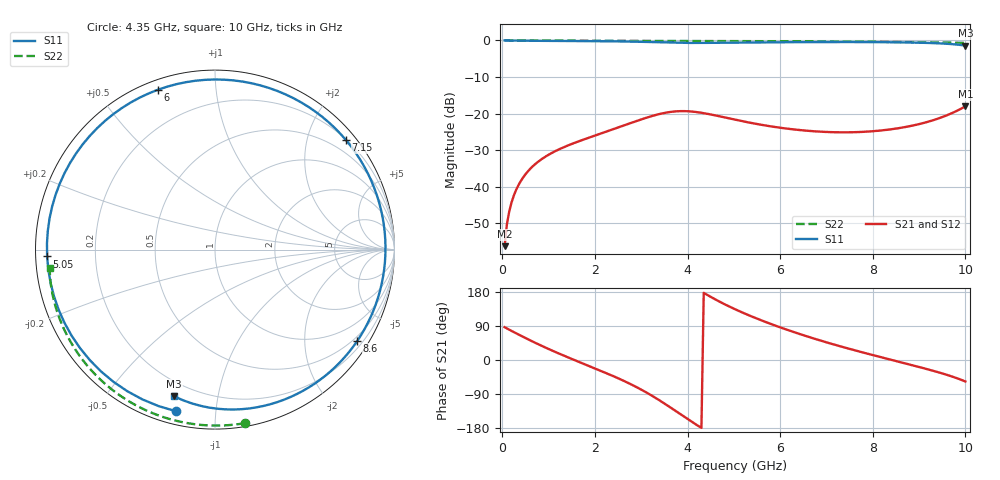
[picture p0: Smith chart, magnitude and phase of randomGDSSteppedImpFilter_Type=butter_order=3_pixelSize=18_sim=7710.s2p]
! freq	dB(S11)	phase(S11)	dB(S12)	phase(S12)
!  dB(S21)	phase(S21)	dB(S22)	phase(S22)
!S-par simulation data
#  GHz  S  DB  R 50
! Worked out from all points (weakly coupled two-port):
!   200 points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, 50 MHz to 10 GHz, reference 50 ohm
!   highest |S21| = -18.02 dB at 10 GHz (marker M1); lowest = -56.3 dB at 50 MHz (marker M2)
!   lowest |S11| = -1.4 dB at 10 GHz (marker M3), VSWR 12.22, Z = 6.43 - j37.6 ohm
!   |S11| at or under -10 dB: nowhere
!   |S22| runs from -0.7 to 0.0 dB; largest |S21 - S12| = 0
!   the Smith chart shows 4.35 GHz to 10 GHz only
!   S11 on the Smith chart (normalised r, x): 4.35 GHz: 0.06, -0.79; 5.05 GHz: 0.03, -0.02; 6 GHz: 0.04, +0.70; 7.15 GHz: 0.21, +2.74; 8.6 GHz: 0.37, -3.37; 10 GHz: 0.13, -0.75
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0.05  -0.00 -5.5  -56.27 86.6  -56.27 86.6  -0.00 -1.0
0.15  -0.02 -16.5  -46.76 80.0  -46.76 80.0  -0.00 -3.0
0.3  -0.04 -32.7  -40.84 70.4  -40.84 70.4  -0.01 -5.9
0.85  -0.11 -88.3  -32.46 37.4  -32.46 37.4  -0.02 -16.5
1.25  -0.14 -124.5  -29.64 15.6  -29.64 15.6  -0.04 -24.2
1.75  -0.18 -166.1  -27.13 -9.7  -27.13 -9.7  -0.05 -33.7
2.25  -0.22 152.7  -24.92 -34.8  -24.92 -34.8  -0.07 -43.1
2.75  -0.31 106.7  -22.69 -62.4  -22.69 -62.4  -0.09 -52.3
3.1  -0.40 68.4  -21.19 -84.9  -21.19 -84.9  -0.11 -58.6
3.4  -0.51 30.1  -20.10 -106.9  -20.10 -106.9  -0.13 -63.9
3.8  -0.64 -27.3  -19.35 -139.3  -19.35 -139.3  -0.15 -70.8
4.1  -0.68 -70.5  -19.45 -163.8  -19.45 -163.8  -0.16 -75.9
4.35  -0.67 -103.6  -19.89 177.2  -19.89 177.2  -0.16 -80.2
4.7  -0.62 -143.8  -20.77 153.4  -20.77 153.4  -0.17 -86.0
5.05  -0.57 -177.7  -21.73 132.6  -21.73 132.6  -0.17 -91.9
6  -0.48 109.8  -23.87 86.2  -23.87 86.2  -0.21 -107.4
6.7  -0.45 65.7  -24.81 57.7  -24.81 57.7  -0.25 -118.7
7.15  -0.43 39.9  -25.10 41.2  -25.10 41.2  -0.28 -125.9
8.35  -0.48 -21.1  -24.38 2.0  -24.38 2.0  -0.39 -145.3
8.6  -0.52 -32.7  -23.91 -5.8  -23.91 -5.8  -0.42 -149.4
9.4  -0.77 -70.2  -21.41 -31.9  -21.41 -31.9  -0.53 -163.0
10  -1.43 -105.5  -18.02 -56.7  -18.02 -56.7  -0.67 -173.8
